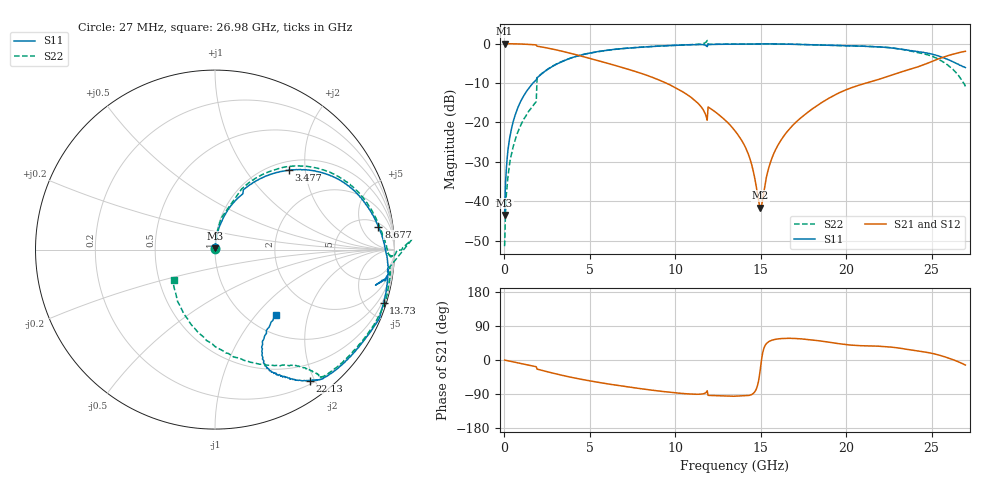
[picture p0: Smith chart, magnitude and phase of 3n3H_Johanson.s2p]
#  HZ  S  MA  R  50.00
! Rohde & Schwarz ZVA67 4Ports - Version 4.11 - 1305.7002k04 SN: 101051
! Date: 2023-05-24 10:38:19
! Measurements: S11 S21 S12 S22
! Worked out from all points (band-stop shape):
!   540 points, 27 MHz to 26.98 GHz, reference 50 ohm
!   highest |S21| = -0.01 dB at 27 MHz (marker M1); lowest = -41.6 dB at 14.98 GHz (marker M2)
!   |S21| within 3 dB of the highest: start of sweep to 4.372 GHz; 25.99 GHz to end of sweep
!   lowest |S11| = -43.5 dB at 27 MHz (marker M3), VSWR 1.01, Z = 50.2 + j0.653 ohm
!   |S11| at or under -10 dB: start of sweep to 1.687 GHz
!   |S22| runs from -51.4 to 0.8 dB; largest |S21 - S12| = 0.06
!   S11 on the Smith chart (normalised r, x): 27 MHz: 1.00, +0.01; 3.477 GHz: 1.17, +1.63; 8.677 GHz: 6, +10; 13.73 GHz: 0.31, -6.43; 22.13 GHz: 0.25, -1.93; 26.98 GHz: 1.32, -1.28
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2.7e7  0.006702 76.1  0.9989 -0.2  0.997 -0.5  0.002705 96.1
1.77e8  0.03526 84.5  0.9979 -1.7  0.9965 -1.8  0.01613 87.1
3.27e8  0.06444 83.4  0.9967 -3.1  0.9961 -3.2  0.03074 86.4
8.77e8  0.1682 76.5  0.9887 -8.3  0.9878 -8.5  0.08301 84.1
1.777e9  0.3313 64.6  0.9664 -16.9  0.9652 -17.2  0.1728 78.8
2.027e9  0.3859 63.4  0.9181 -25.2  0.9166 -25.5  0.3877 65.1
3.477e9  0.6027 47.1  0.7913 -41.2  0.791 -41.8  0.6068 49.5
4.527e9  0.7196 37.1  0.6927 -51.1  0.6912 -51.9  0.7183 39.5
8.677e9  0.9191 8.0  0.3728 -79.8  0.372 -81.1  0.921 9.3
9.027e9  0.9294 5.8  0.3476 -81.7  0.3467 -83.2  0.9293 7.2
1.3527e10  0.9843 -16.8  0.0769 -95.5  0.07662 -97.5  0.9872 -8.6
1.3727e10  0.9853 -17.6  0.06723 -95.0  0.067 -97.2  0.9869 -9.0
1.4377e10  0.9871 -19.9  0.03467 -92.8  0.03451 -94.7  0.9876 -11.1
1.4977e10  0.9897 -21.4  0.00836 -26.2  0.008331 -28.1  0.9893 -13.8
1.5527e10  0.9922 -22.9  0.02903 49.7  0.02901 47.4  0.9916 -17.1
1.5977e10  0.9892 -24.2  0.04987 55.4  0.04987 52.9  0.9883 -19.7
1.8027e10  0.9658 -34.7  0.1488 52.8  0.1486 50.0  0.9674 -30.8
2.2127e10  0.901 -54.1  0.3644 35.8  0.3633 32.2  0.9053 -50.4
2.2527e10  0.8869 -55.5  0.3883 34.6  0.3878 30.6  0.8891 -50.7
2.4377e10  0.7826 -63.4  0.5241 22.5  0.5216 18.6  0.7562 -58.5
2.5477e10  0.6873 -66.8  0.6497 12.4  0.6468 8.3  0.6196 -77.3
2.6977e10  0.4969 -47.0  0.7987 -13.2  0.7949 -17.5  0.2869 -143.1
